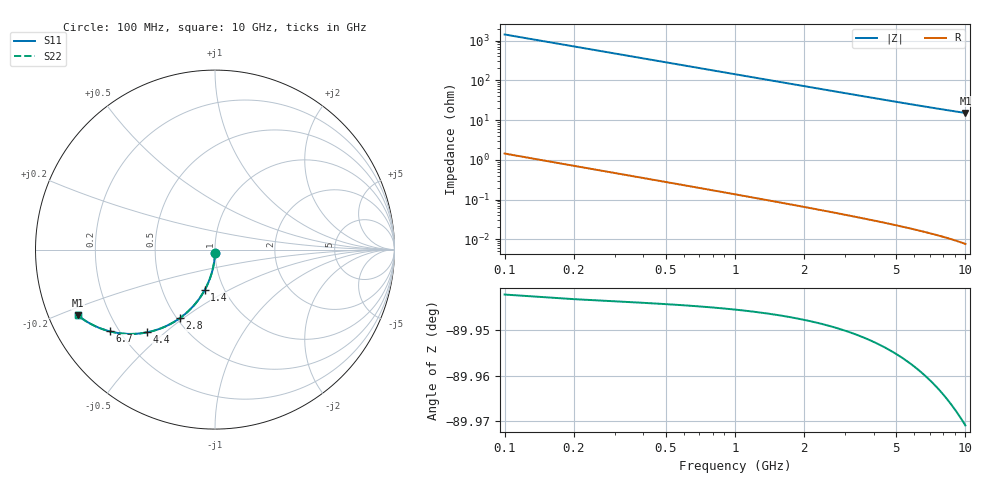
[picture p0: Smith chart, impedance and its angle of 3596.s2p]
# Hz S RI R 50.00
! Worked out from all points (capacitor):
!   100 points, 100 MHz to 10 GHz, reference 50 ohm
!   read as one part in shunt: C = 1.12 pF near 100 MHz
!   lowest |Z| = 15.1 ohm at 10 GHz (marker M1)
!   S11 on the Smith chart (normalised r, x): 100 MHz: 1.00, -0.03; 1.4 GHz: 0.81, -0.38; 2.8 GHz: 0.52, -0.48; 4.4 GHz: 0.31, -0.44; 6.7 GHz: 0.16, -0.33; 10 GHz: 0.09, -0.23
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1e8  -3.62e-05 -0.017  0.9994 -0.0181  0.9994 -0.0181  -3.62e-05 -0.017
2e8  -0.000973 -0.034  0.9984 -0.0361  0.9984 -0.0361  -0.000973 -0.034
3e8  -0.00252 -0.0509  0.9969 -0.0541  0.9969 -0.0541  -0.00252 -0.0509
4e8  -0.00467 -0.0677  0.9947 -0.072  0.9947 -0.072  -0.00467 -0.0677
5e8  -0.00743 -0.0844  0.992 -0.0897  0.992 -0.0897  -0.00743 -0.0844
6e8  -0.0108 -0.1009  0.9886 -0.1073  0.9886 -0.1073  -0.0108 -0.1009
7e8  -0.0147 -0.1173  0.9847 -0.1247  0.9847 -0.1247  -0.0147 -0.1173
9e8  -0.0242 -0.1493  0.9752 -0.1589  0.9752 -0.1589  -0.0242 -0.1493
1.1e9  -0.0358 -0.1803  0.9635 -0.192  0.9635 -0.192  -0.0358 -0.1803
1.4e9  -0.0569 -0.2243  0.9424 -0.2392  0.9424 -0.2392  -0.0569 -0.2243
1.8e9  -0.0908 -0.2778  0.9084 -0.297  0.9084 -0.297  -0.0908 -0.2778
2.3e9  -0.1404 -0.3351  0.8586 -0.3597  0.8586 -0.3597  -0.1404 -0.3351
2.8e9  -0.1952 -0.3813  0.8037 -0.4113  0.8037 -0.4113  -0.1952 -0.3813
3.4e9  -0.264 -0.4224  0.7347 -0.4588  0.7347 -0.4588  -0.264 -0.4224
3.9e9  -0.3211 -0.4457  0.6774 -0.4876  0.6774 -0.4876  -0.3211 -0.4457
4.4e9  -0.3764 -0.4605  0.6218 -0.5078  0.6218 -0.5078  -0.3764 -0.4605
5.1e9  -0.4488 -0.4694  0.549 -0.5244  0.549 -0.5244  -0.4488 -0.4694
5.9e9  -0.5228 -0.4669  0.4745 -0.5308  0.4745 -0.5308  -0.5228 -0.4669
6.7e9  -0.5869 -0.4551  0.4098 -0.5279  0.4098 -0.5279  -0.5869 -0.4551
7.5e9  -0.6417 -0.4374  0.3542 -0.5192  0.3542 -0.5192  -0.6417 -0.4374
8.4e9  -0.6935 -0.4133  0.3015 -0.5054  0.3015 -0.5054  -0.6935 -0.4133
1e10  -0.7647 -0.366  0.2284 -0.4768  0.2284 -0.4768  -0.7647 -0.366
